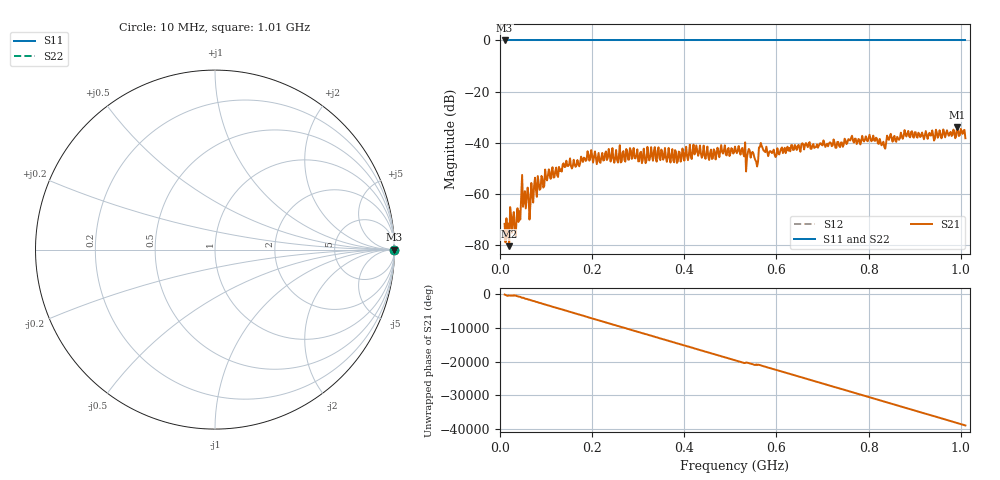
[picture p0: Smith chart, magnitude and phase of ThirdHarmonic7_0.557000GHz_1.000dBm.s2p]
! 8/17/2025 4:58:58 PM
! C:\ANRITSUVNA\TEMP\TEMP.S2P
! CHANNEL.1
! TR.MEASUREMENT
! RAW.DATA
! RF.CORRECTION.OFF
! AVERAGING.OFF
! IF.BANDWIDTH: 5KHZ
! SWEEPTYPE:  FREQ.SWEEP(Linear)
! Reference Plane Port Info
! PORT:  PORT1  PORT2
! DISTANCE:  0  m  0  m
! TIME:  0  s  0  s
! PHASE.OFFSET:  0  deg.  0  deg.
! LOSS:  0  dB  0  dB
! REF.LOSS:  0  dB  0  dB
! REF.FREQ:  0  Hz  0  Hz
! Power Info
! POWER:  -20  dBm  -20  dBm
! EFF.POWER:  -20  dBm  -20  dBm
! SOURCE.ATTEN:  0  dB  0  dB
! TEST.ATTEN:  0  dB  0  dB
# GHZ S RI R 50.0
! FREQ.GHZ  S11RE  S11IM  S21RE  S21IM  S12RE  S12IM  S22RE  S22IM
!; PortSelection: Port_12
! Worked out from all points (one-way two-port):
!   501 points, 10 MHz to 1.01 GHz, reference 50 ohm
!   highest |S21| = -33.95 dB at 992 MHz (marker M1); lowest = -80.4 dB at 20 MHz (marker M2)
!   lowest |S11| = 0.0 dB at 10 MHz (marker M3)
!   |S11| at or under -10 dB: nowhere
!   |S22| runs from 0.0 to 0.0 dB; largest |S21 - S12| = 1
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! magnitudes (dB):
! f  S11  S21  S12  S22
! 10 MHz  0.0  -71.7  0.0  0.0
! 16 MHz  0.0  -77.1  0.0  0.0
! 20 MHz  0.0  -80.4  0.0  0.0
! 26 MHz  0.0  -75.2  0.0  0.0
! 30 MHz  0.0  -67.1  0.0  0.0
! 36 MHz  0.0  -69.6  0.0  0.0
! 50 MHz  0.0  -65.0  0.0  0.0
! 68 MHz  0.0  -55.7  0.0  0.0
! 72 MHz  0.0  -63.4  0.0  0.0
! 102 MHz  0.0  -54.7  0.0  0.0
! 178 MHz  0.0  -46.6  0.0  0.0
! 344 MHz  0.0  -41.8  0.0  0.0
! 510 MHz  0.0  -41.5  0.0  0.0
! 556 MHz  0.0  -47.4  0.0  0.0
! 566 MHz  0.0  -40.1  0.0  0.0
! 596 MHz  0.0  -44.7  0.0  0.0
! 678 MHz  0.0  -41.0  0.0  0.0
! 806 MHz  0.0  -39.4  0.0  0.0
! 832 MHz  0.0  -39.6  0.0  0.0
! 844 MHz  0.0  -38.9  0.0  0.0
! 992 MHz  0.0  -33.9  0.0  0.0
! 1.01 GHz  0.0  -38.2  0.0  0.0
